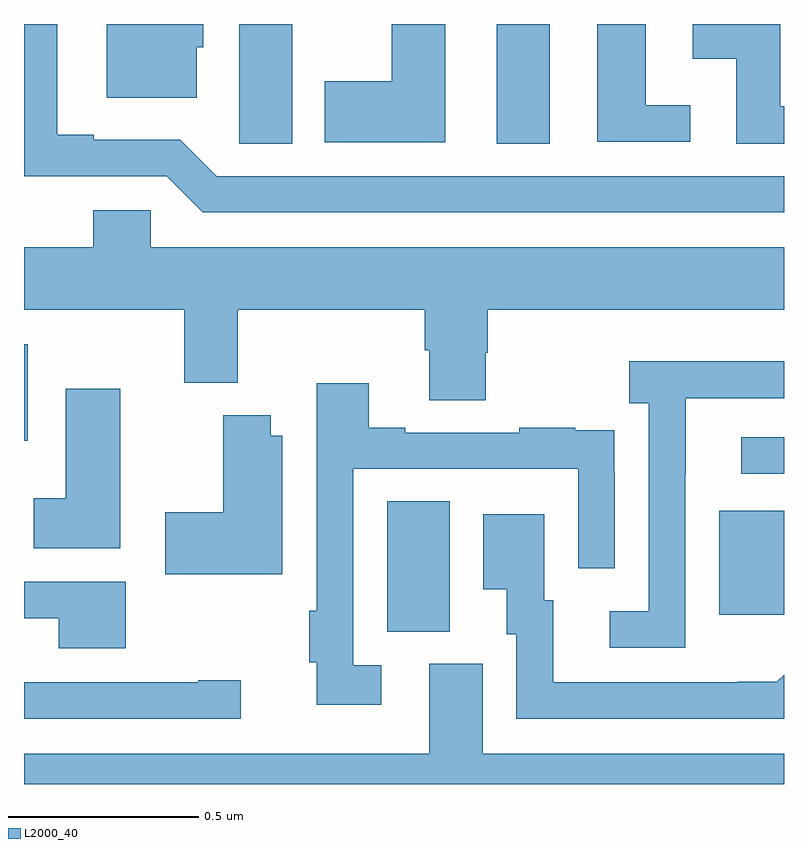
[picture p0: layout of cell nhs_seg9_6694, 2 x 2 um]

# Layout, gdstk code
import gdstk
lib = gdstk.Library(unit=1e-6, precision=1e-09)
def R(c, l, rs):  # rectangles x0, y0, x1, y1
    for r in rs: c.add(gdstk.rectangle(r[:2], r[2:], *l))
def P(c, l, *ps):  # polygons
    for p in ps: c.add(gdstk.Polygon(p, *l))
L2000_40 = (2000, 40)

nhs_seg9_6694 = lib.new_cell('nhs_seg9_6694')
R(nhs_seg9_6694, L2000_40, [(195.956,1200.901,196.12,1201.244), (196.829,1200.945,197,1201.219), (196.887,1201.317,197,1201.413), (195,1201.403,195.01,1201.657), (196.244,1202.185,196.384,1202.5)])
P(nhs_seg9_6694, L2000_40, [(196.753,1202.286),(196.636,1202.286),(196.636,1202.5),(196.508,1202.5),(196.508,1202.19),(196.753,1202.19)],
  [(197,1202.1),(195.507,1202.1),(195.411,1202.196),(195.184,1202.196),(195.184,1202.209),(195.088,1202.209),(195.088,1202.5),(195,1202.5),(195,1202.1),(195.375,1202.1),(195.471,1202.004),(197,1202.004)],
  [(195.706,1202.5),(195.566,1202.5),(195.566,1202.296),(195.567,1202.296),(195.567,1202.185),(195.706,1202.185)],
  [(196.108,1202.5),(195.968,1202.5),(195.968,1202.349),(195.791,1202.349),(195.791,1202.189),(196.108,1202.189)],
  [(197,1202.283),(196.99,1202.283),(196.99,1202.5),(196.76,1202.5),(196.76,1202.408),(196.874,1202.408),(196.874,1202.185),(197,1202.185)],
  [(195.454,1202.439),(195.472,1202.439),(195.472,1202.5),(195.218,1202.5),(195.218,1202.306),(195.454,1202.306)],
  [(196.215,1201.635),(196.22,1201.635),(196.22,1201.748),(197,1201.748),(197,1201.912),(195.333,1201.912),(195.333,1202.01),(195.182,1202.01),(195.182,1201.912),(195,1201.912),(195,1201.748),(195.422,1201.748),(195.422,1201.556),(195.562,1201.556),(195.562,1201.748),(196.055,1201.748),(196.055,1201.642),(196.067,1201.642),(196.067,1201.51),(196.215,1201.51)],
  [(196.74,1201.315),(196.741,1201.315),(196.741,1201.515),(197,1201.515),(197,1201.612),(196.593,1201.612),(196.593,1201.502),(196.644,1201.502),(196.644,1200.954),(196.542,1200.954),(196.542,1200.858),(196.74,1200.858)],
  [(195.94,1200.813),(195.867,1200.813),(195.867,1201.329),(196.458,1201.329),(196.458,1201.068),(196.554,1201.068),(196.554,1201.322),(196.553,1201.322),(196.553,1201.431),(196.451,1201.431),(196.451,1201.438),(196.303,1201.438),(196.303,1201.425),(196.003,1201.425),(196.003,1201.438),(195.907,1201.438),(195.907,1201.555),(195.771,1201.555),(195.771,1200.956),(195.751,1200.956),(195.751,1200.82),(195.77,1200.82),(195.77,1200.708),(195.94,1200.708)],
  [(195.253,1201.54),(195.11,1201.54),(195.11,1201.252),(195.026,1201.252),(195.026,1201.121),(195.253,1201.121)],
  [(195.679,1201.417),(195.649,1201.417),(195.649,1201.471),(195.524,1201.471),(195.524,1201.215),(195.372,1201.215),(195.372,1201.052),(195.679,1201.052)],
  [(197,1200.788),(196.981,1200.769),(196.877,1200.769),(196.877,1200.768),(196.393,1200.768),(196.393,1200.984),(196.369,1200.984),(196.369,1201.21),(196.208,1201.21),(196.208,1201.013),(196.271,1201.013),(196.271,1200.894),(196.296,1200.894),(196.296,1200.672),(197,1200.672)],
  [(195.268,1201.032),(195,1201.032),(195,1200.936),(195.092,1200.936),(195.092,1200.857),(195.268,1200.857)],
  [(197,1200.58),(196.207,1200.58),(196.207,1200.816),(196.067,1200.816),(196.067,1200.58),(195,1200.58),(195,1200.5),(197,1200.5)],
  [(195.571,1200.773),(195.458,1200.773),(195.458,1200.768),(195,1200.768),(195,1200.672),(195.571,1200.672)])

lib.write_gds('nhs_seg9_6694.gds')
